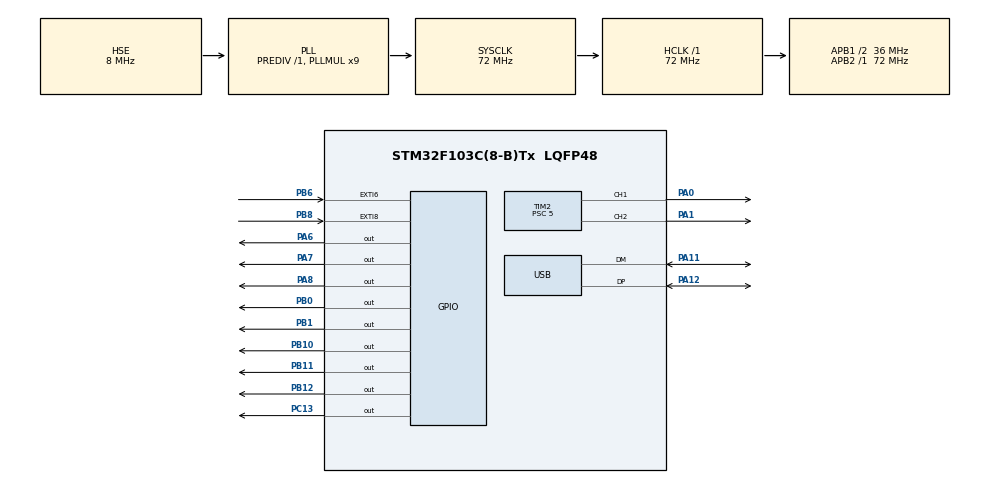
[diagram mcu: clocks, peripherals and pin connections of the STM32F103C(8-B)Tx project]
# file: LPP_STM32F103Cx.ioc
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Dma.MEMTOMEM.0.Direction=DMA_MEMORY_TO_MEMORY
Dma.MEMTOMEM.0.Instance=DMA1_Channel1
Dma.MEMTOMEM.0.MemDataAlignment=DMA_MDATAALIGN_BYTE
Dma.MEMTOMEM.0.MemInc=DMA_MINC_ENABLE
Dma.MEMTOMEM.0.Mode=DMA_NORMAL
Dma.MEMTOMEM.0.PeriphDataAlignment=DMA_PDATAALIGN_BYTE
Dma.MEMTOMEM.0.PeriphInc=DMA_PINC_ENABLE
Dma.MEMTOMEM.0.Priority=DMA_PRIORITY_LOW
Dma.Request0=MEMTOMEM
Mcu.Family=STM32F1
Mcu.Name=STM32F103C(8-B)Tx
Mcu.Package=LQFP48
NVIC.DMA1_Channel1_IRQn=true\:2\:0\:true\:false\:true\:true\:true\:true
NVIC.EXTI9_5_IRQn=true\:1\:0\:true\:false\:true\:true\:true\:true
NVIC.PriorityGroup=NVIC_PRIORITYGROUP_4
NVIC.TIM2_IRQn=true\:4\:0\:true\:false\:true\:true\:true\:true
NVIC.TIM3_IRQn=true\:1\:0\:true\:false\:true\:true\:true\:true
NVIC.TIM4_IRQn=true\:2\:0\:true\:false\:true\:true\:true\:true
NVIC.USB_LP_CAN1_RX0_IRQn=true\:0\:0\:false\:false\:true\:false\:true\:true
PA0-WKUP.Signal=S_TIM2_CH1_ETR
PA1.GPIO_ModeDefaultPP=GPIO_MODE_AF_PP
PA1.Signal=S_TIM2_CH2
PA11.Mode=Device
PA11.Signal=USB_DM
PA12.Mode=Device
PA12.Signal=USB_DP
PA13.Mode=Serial_Wire
PA13.Signal=SYS_JTMS-SWDIO
PA14.Mode=Serial_Wire
PA14.Signal=SYS_JTCK-SWCLK
PA6.Signal=GPIO_Output
PA7.Signal=GPIO_Output
PA8.Signal=GPIO_Output
PB0.Signal=GPIO_Output
PB1.Signal=GPIO_Output
PB10.Signal=GPIO_Output
PB11.Signal=GPIO_Output
PB12.Signal=GPIO_Output
PB6.GPIO_ModeDefaultEXTI=GPIO_MODE_IT_RISING_FALLING
PB6.Signal=GPXTI6
PB8.GPIO_ModeDefaultEXTI=GPIO_MODE_IT_RISING_FALLING
PB8.Signal=GPXTI8
PC13-TAMPER-RTC.Signal=GPIO_Output
PC14-OSC32_IN.Mode=LSE-External-Oscillator
PC14-OSC32_IN.Signal=RCC_OSC32_IN
PC15-OSC32_OUT.Mode=LSE-External-Oscillator
PC15-OSC32_OUT.Signal=RCC_OSC32_OUT
PD0-OSC_IN.Mode=HSE-External-Oscillator
PD0-OSC_IN.Signal=RCC_OSC_IN
PD1-OSC_OUT.Mode=HSE-External-Oscillator
PD1-OSC_OUT.Signal=RCC_OSC_OUT
ProjectManager.HeapSize=0x200
ProjectManager.StackSize=0x400
ProjectManager.TargetToolchain=MDK-ARM V5.32
RCC.AHBFreq_Value=72000000
RCC.APB1CLKDivider=RCC_HCLK_DIV2
RCC.APB1Freq_Value=36000000
RCC.APB1TimFreq_Value=72000000
RCC.APB2Freq_Value=72000000
RCC.APB2TimFreq_Value=72000000
RCC.HCLKFreq_Value=72000000
RCC.PLLMUL=RCC_PLL_MUL9
RCC.SYSCLKFreq_VALUE=72000000
RCC.SYSCLKSource=RCC_SYSCLKSOURCE_PLLCLK
RCC.USBFreq_Value=48000000
RCC.USBPrescaler=RCC_USBCLKSOURCE_PLL_DIV1_5
SH.S_TIM2_CH1_ETR.0=TIM2_CH1,PWM Generation1 CH1
SH.S_TIM2_CH2.0=TIM2_CH2,PWM Generation2 CH2
TIM2.Channel-PWM\ Generation1\ CH1=TIM_CHANNEL_1
TIM2.Channel-PWM\ Generation2\ CH2=TIM_CHANNEL_2
TIM2.Period=100
TIM2.Prescaler=5
TIM2.Pulse-PWM\ Generation1\ CH1=0
TIM2.Pulse-PWM\ Generation2\ CH2=0
TIM3.AutoReloadPreload=TIM_AUTORELOAD_PRELOAD_ENABLE
TIM3.Period=1
TIM3.Prescaler=72
TIM4.AutoReloadPreload=TIM_AUTORELOAD_PRELOAD_DISABLE
TIM4.Period=10000
TIM4.Prescaler=72
USB_DEVICE.CLASS_NAME_FS=CUSTOM_HID
USB_DEVICE.CUSTOM_HID_FS_BINTERVAL=1
USB_DEVICE.PID_CUSTOMHID_FS=22332
USB_DEVICE.USBD_CUSTOMHID_OUTREPORT_BUF_SIZE=64
USB_DEVICE.USBD_CUSTOM_HID_REPORT_DESC_SIZE=34
USB_DEVICE.VID=1122
USB_DEVICE.VirtualMode=CustomHid
USB_DEVICE.VirtualModeFS=Custom_Hid_FS
VP_TIM2_VS_ClockSourceINT.Mode=Internal
VP_TIM3_VS_ClockSourceINT.Mode=Internal
VP_TIM4_VS_ClockSourceINT.Mode=Internal
VP_TIM4_VS_OPM.Mode=OPM_bit
VP_USB_DEVICE_VS_USB_DEVICE_CUSTOM_HID_FS.Mode=CUSTOM_HID_FS
board=custom

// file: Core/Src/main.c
/* USER CODE BEGIN Header */
/**
 ******************************************************************************
 * @file           : main.c
 * @brief          : Main program body
 ******************************************************************************
 * @attention
 *
 * Copyright (c) 2023 STMicroelectronics.
 * All rights reserved.
 *
 * This software is licensed under terms that can be found in the LICENSE file
 * in the root directory of this software component.
 * If no LICENSE file comes with this software, it is provided AS-IS.
 *
 ******************************************************************************
 */
/* USER CODE END Header */
#include "main.h"
#include "usb_device.h"

/* USER CODE BEGIN Includes */
#include <math.h>
#include <stdbool.h>
#include "counter.h"
#include "stdio.h"

#include "lpp_sdk.h"
/* USER CODE END Includes */

/* USER CODE BEGIN PM */

// Глобальные определения таймеров и режимов
TIM_HandleTypeDef htim1;  // Основной таймер для управления мотором X

/* USER CODE END PM */

TIM_HandleTypeDef htim2;
TIM_HandleTypeDef htim3;
TIM_HandleTypeDef htim4;

DMA_HandleTypeDef hdma_memtomem_dma1_channel1;
/* USER CODE BEGIN PV */

void XferCpltCallback(DMA_HandleTypeDef *hdma);

// ============================================================================
// Сигнатура и версия прошивки (APP)
// ============================================================================
const uint32_t APP_KEY0   __attribute__((section(APP_KEY0_SECTION)))   = APP_SIG_KEY0;
const uint32_t APP_KEY1   __attribute__((section(APP_KEY1_SECTION)))   = APP_SIG_KEY1;
const uint32_t APP_KEY2   __attribute__((section(APP_KEY2_SECTION)))   = APP_SIG_KEY2;
const uint32_t APP_KEY3   __attribute__((section(APP_KEY3_SECTION)))   = APP_SIG_KEY3;

const uint32_t APP_VER_F  __attribute__((section(APP_VER_F_SECTION)))  = APP_VERSION;

// ============================================================================
// Внешние объявления
// ============================================================================

extern uint8_t USBD_CUSTOM_HID_SendReport(USBD_HandleTypeDef* pdev, uint8_t* report, uint16_t len);
extern USBD_HandleTypeDef hUsbDeviceFS;

/* USER CODE END PV */

void SystemClock_Config(void);
static void MX_GPIO_Init(void);
static void MX_DMA_Init(void);
static void MX_TIM2_Init(void);
static void MX_TIM3_Init(void);
static void MX_TIM4_Init(void);

/* USER CODE BEGIN 0 */
static uint8_t enc_b_state = 0;
/* USER CODE END 0 */

int main(void)
{

  /* MCU Configuration--------------------------------------------------------*/

  /* Reset of all peripherals, Initializes the Flash interface and the Systick. */
  HAL_Init();

  /* Configure the system clock */
  SystemClock_Config();

  /* Initialize all configured peripherals */
  MX_GPIO_Init();
  MX_DMA_Init();
  MX_USB_DEVICE_Init();
  MX_TIM2_Init();
  MX_TIM3_Init();
  MX_TIM4_Init();
  /* USER CODE BEGIN 2 */
		// Инициализация
		Lpp_Init();
    // Настройка приоритетов прерываний
    HAL_NVIC_SetPriority(TIM1_UP_IRQn, 2, 0);
    HAL_NVIC_EnableIRQ(TIM1_UP_IRQn);
    HAL_NVIC_SetPriority(TIM1_CC_IRQn, 2, 0);
    HAL_NVIC_EnableIRQ(TIM1_CC_IRQn);

    // Запуск PWM для лазера и подсветки
    HAL_TIM_PWM_Start(&htim2, TIM_CHANNEL_1);  // Лазер
    HAL_TIM_PWM_Start(&htim2, TIM_CHANNEL_2);  // Подсветка

    // Запуск таймеров
    HAL_TIM_Base_Start_IT(&htim4);

    // Инициализация задержки и периферии
    HAL_Delay(2000);
    HAL_GPIO_WritePin(GPIOA, GPIO_PIN_8, GPIO_PIN_SET);    // Включение USB

    // Настройка DMA callback
    HAL_DMA_RegisterCallback(&hdma_memtomem_dma1_channel1, HAL_DMA_XFER_CPLT_CB_ID, XferCpltCallback);

  /* USER CODE END 2 */

  /* Infinite loop */
    while (1) {

    /* USER CODE BEGIN 3 */

			Lpp_MainLoop();
    }
  /* USER CODE END 3 */
}

void SystemClock_Config(void)
{
  RCC_OscInitTypeDef RCC_OscInitStruct = {0};
  RCC_ClkInitTypeDef RCC_ClkInitStruct = {0};
  RCC_PeriphCLKInitTypeDef PeriphClkInit = {0};

  /** Initializes the RCC Oscillators according to the specified parameters
  * in the RCC_OscInitTypeDef structure.
  */
  RCC_OscInitStruct.OscillatorType = RCC_OSCILLATORTYPE_HSE;
  RCC_OscInitStruct.HSEState = RCC_HSE_ON;
  RCC_OscInitStruct.HSEPredivValue = RCC_HSE_PREDIV_DIV1;
  RCC_OscInitStruct.HSIState = RCC_HSI_ON;
  RCC_OscInitStruct.PLL.PLLState = RCC_PLL_ON;
  RCC_OscInitStruct.PLL.PLLSource = RCC_PLLSOURCE_HSE;
  RCC_OscInitStruct.PLL.PLLMUL = RCC_PLL_MUL9;
  if (HAL_RCC_OscConfig(&RCC_OscInitStruct) != HAL_OK)
  {
    Error_Handler();
  }

  /** Initializes the CPU, AHB and APB buses clocks
  */
  RCC_ClkInitStruct.ClockType = RCC_CLOCKTYPE_HCLK|RCC_CLOCKTYPE_SYSCLK
                              |RCC_CLOCKTYPE_PCLK1|RCC_CLOCKTYPE_PCLK2;
  RCC_ClkInitStruct.SYSCLKSource = RCC_SYSCLKSOURCE_PLLCLK;
  RCC_ClkInitStruct.AHBCLKDivider = RCC_SYSCLK_DIV1;
  RCC_ClkInitStruct.APB1CLKDivider = RCC_HCLK_DIV2;
  RCC_ClkInitStruct.APB2CLKDivider = RCC_HCLK_DIV1;

  if (HAL_RCC_ClockConfig(&RCC_ClkInitStruct, FLASH_LATENCY_2) != HAL_OK)
  {
    Error_Handler();
  }
  PeriphClkInit.PeriphClockSelection = RCC_PERIPHCLK_USB;
  PeriphClkInit.UsbClockSelection = RCC_USBCLKSOURCE_PLL_DIV1_5;
  if (HAL_RCCEx_PeriphCLKConfig(&PeriphClkInit) != HAL_OK)
  {
    Error_Handler();
  }
}

static void MX_TIM2_Init(void)
{

  TIM_ClockConfigTypeDef sClockSourceConfig = {0};
  TIM_MasterConfigTypeDef sMasterConfig = {0};
  TIM_OC_InitTypeDef sConfigOC = {0};

  htim2.Instance = TIM2;
  htim2.Init.Prescaler = 5;
  htim2.Init.CounterMode = TIM_COUNTERMODE_UP;
  htim2.Init.Period = 100;
  htim2.Init.ClockDivision = TIM_CLOCKDIVISION_DIV1;
  htim2.Init.AutoReloadPreload = TIM_AUTORELOAD_PRELOAD_DISABLE;
  if (HAL_TIM_Base_Init(&htim2) != HAL_OK)
  {
    Error_Handler();
  }
  sClockSourceConfig.ClockSource = TIM_CLOCKSOURCE_INTERNAL;
  if (HAL_TIM_ConfigClockSource(&htim2, &sClockSourceConfig) != HAL_OK)
  {
    Error_Handler();
  }
  if (HAL_TIM_PWM_Init(&htim2) != HAL_OK)
  {
    Error_Handler();
  }
  sMasterConfig.MasterOutputTrigger = TIM_TRGO_RESET;
  sMasterConfig.MasterSlaveMode = TIM_MASTERSLAVEMODE_DISABLE;
  if (HAL_TIMEx_MasterConfigSynchronization(&htim2, &sMasterConfig) != HAL_OK)
  {
    Error_Handler();
  }
  sConfigOC.OCMode = TIM_OCMODE_PWM1;
  sConfigOC.Pulse = 0;
  sConfigOC.OCPolarity = TIM_OCPOLARITY_HIGH;
  sConfigOC.OCFastMode = TIM_OCFAST_DISABLE;
  if (HAL_TIM_PWM_ConfigChannel(&htim2, &sConfigOC, TIM_CHANNEL_1) != HAL_OK)
  {
    Error_Handler();
  }
  if (HAL_TIM_PWM_ConfigChannel(&htim2, &sConfigOC, TIM_CHANNEL_2) != HAL_OK)
  {
    Error_Handler();
  }
  HAL_TIM_MspPostInit(&htim2);

}

static void MX_TIM3_Init(void)
{

  TIM_ClockConfigTypeDef sClockSourceConfig = {0};
  TIM_MasterConfigTypeDef sMasterConfig = {0};

  htim3.Instance = TIM3;
  htim3.Init.Prescaler = 72;
  htim3.Init.CounterMode = TIM_COUNTERMODE_UP;
  htim3.Init.Period = 1;
  htim3.Init.ClockDivision = TIM_CLOCKDIVISION_DIV1;
  htim3.Init.AutoReloadPreload = TIM_AUTORELOAD_PRELOAD_ENABLE;
  if (HAL_TIM_Base_Init(&htim3) != HAL_OK)
  {
    Error_Handler();
  }
  sClockSourceConfig.ClockSource = TIM_CLOCKSOURCE_INTERNAL;
  if (HAL_TIM_ConfigClockSource(&htim3, &sClockSourceConfig) != HAL_OK)
  {
    Error_Handler();
  }
  sMasterConfig.MasterOutputTrigger = TIM_TRGO_RESET;
  sMasterConfig.MasterSlaveMode = TIM_MASTERSLAVEMODE_DISABLE;
  if (HAL_TIMEx_MasterConfigSynchronization(&htim3, &sMasterConfig) != HAL_OK)
  {
    Error_Handler();
  }
  /* USER CODE BEGIN TIM3_Init 2 */
    // Настройка прерываний TIM3 (опционально)
    HAL_NVIC_SetPriority(TIM3_IRQn, 2, 0);
    HAL_NVIC_EnableIRQ(TIM3_IRQn);
  /* USER CODE END TIM3_Init 2 */

}

static void MX_TIM4_Init(void)
{

  TIM_ClockConfigTypeDef sClockSourceConfig = {0};
  TIM_MasterConfigTypeDef sMasterConfig = {0};

  htim4.Instance = TIM4;
  htim4.Init.Prescaler = 72;
  htim4.Init.CounterMode = TIM_COUNTERMODE_UP;
  htim4.Init.Period = 10000;
  htim4.Init.ClockDivision = TIM_CLOCKDIVISION_DIV1;
  htim4.Init.AutoReloadPreload = TIM_AUTORELOAD_PRELOAD_DISABLE;
  if (HAL_TIM_Base_Init(&htim4) != HAL_OK)
  {
    Error_Handler();
  }
  sClockSourceConfig.ClockSource = TIM_CLOCKSOURCE_INTERNAL;
  if (HAL_TIM_ConfigClockSource(&htim4, &sClockSourceConfig) != HAL_OK)
  {
    Error_Handler();
  }
  if (HAL_TIM_OnePulse_Init(&htim4, TIM_OPMODE_SINGLE) != HAL_OK)
  {
    Error_Handler();
  }
  sMasterConfig.MasterOutputTrigger = TIM_TRGO_RESET;
  sMasterConfig.MasterSlaveMode = TIM_MASTERSLAVEMODE_DISABLE;
  if (HAL_TIMEx_MasterConfigSynchronization(&htim4, &sMasterConfig) != HAL_OK)
  {
    Error_Handler();
  }

}

static void MX_DMA_Init(void)
{

  /* DMA controller clock enable */
  __HAL_RCC_DMA1_CLK_ENABLE();

  /* Configure DMA request hdma_memtomem_dma1_channel1 on DMA1_Channel1 */
  hdma_memtomem_dma1_channel1.Instance = DMA1_Channel1;
  hdma_memtomem_dma1_channel1.Init.Direction = DMA_MEMORY_TO_MEMORY;
  hdma_memtomem_dma1_channel1.Init.PeriphInc = DMA_PINC_ENABLE;
  hdma_memtomem_dma1_channel1.Init.MemInc = DMA_MINC_ENABLE;
  hdma_memtomem_dma1_channel1.Init.PeriphDataAlignment = DMA_PDATAALIGN_BYTE;
  hdma_memtomem_dma1_channel1.Init.MemDataAlignment = DMA_MDATAALIGN_BYTE;
  hdma_memtomem_dma1_channel1.Init.Mode = DMA_NORMAL;
  hdma_memtomem_dma1_channel1.Init.Priority = DMA_PRIORITY_LOW;
  if (HAL_DMA_Init(&hdma_memtomem_dma1_channel1) != HAL_OK)
  {
    Error_Handler( );
  }

  /* DMA interrupt init */
  /* DMA1_Channel1_IRQn interrupt configuration */
  HAL_NVIC_SetPriority(DMA1_Channel1_IRQn, 2, 0);
  HAL_NVIC_EnableIRQ(DMA1_Channel1_IRQn);

}

static void MX_GPIO_Init(void)
{
  GPIO_InitTypeDef GPIO_InitStruct = {0};

  /* GPIO Ports Clock Enable */
  __HAL_RCC_GPIOC_CLK_ENABLE();
  __HAL_RCC_GPIOD_CLK_ENABLE();
  __HAL_RCC_GPIOA_CLK_ENABLE();
  __HAL_RCC_GPIOB_CLK_ENABLE();

  /*Configure GPIO pin Output Level */
  HAL_GPIO_WritePin(GPIOC, GPIO_PIN_13, GPIO_PIN_RESET);

  /*Configure GPIO pin Output Level */
  HAL_GPIO_WritePin(GPIOA, GPIO_PIN_6|GPIO_PIN_7|GPIO_PIN_8, GPIO_PIN_RESET);

  /*Configure GPIO pin Output Level */
  HAL_GPIO_WritePin(GPIOB, GPIO_PIN_0|GPIO_PIN_1|GPIO_PIN_10|GPIO_PIN_11
                          |GPIO_PIN_12, GPIO_PIN_RESET);

  /*Configure GPIO pin : PC13 */
  GPIO_InitStruct.Pin = GPIO_PIN_13;
  GPIO_InitStruct.Mode = GPIO_MODE_OUTPUT_PP;
  GPIO_InitStruct.Pull = GPIO_NOPULL;
  GPIO_InitStruct.Speed = GPIO_SPEED_FREQ_LOW;
  HAL_GPIO_Init(GPIOC, &GPIO_InitStruct);

  /*Configure GPIO pins : PA6 PA7 PA8 */
  GPIO_InitStruct.Pin = GPIO_PIN_6|GPIO_PIN_7|GPIO_PIN_8;
  GPIO_InitStruct.Mode = GPIO_MODE_OUTPUT_PP;
  GPIO_InitStruct.Pull = GPIO_NOPULL;
  GPIO_InitStruct.Speed = GPIO_SPEED_FREQ_LOW;
  HAL_GPIO_Init(GPIOA, &GPIO_InitStruct);

  /*Configure GPIO pins : PB0 PB1 PB10 PB11
                           PB12 */
  GPIO_InitStruct.Pin = GPIO_PIN_0|GPIO_PIN_1|GPIO_PIN_10|GPIO_PIN_11
                          |GPIO_PIN_12;
  GPIO_InitStruct.Mode = GPIO_MODE_OUTPUT_PP;
  GPIO_InitStruct.Pull = GPIO_NOPULL;
  GPIO_InitStruct.Speed = GPIO_SPEED_FREQ_LOW;
  HAL_GPIO_Init(GPIOB, &GPIO_InitStruct);

  /*Configure GPIO pins : PB6 PB8 */
  GPIO_InitStruct.Pin = GPIO_PIN_6|GPIO_PIN_8;
  GPIO_InitStruct.Mode = GPIO_MODE_IT_RISING_FALLING;
  GPIO_InitStruct.Pull = GPIO_NOPULL;
  HAL_GPIO_Init(GPIOB, &GPIO_InitStruct);

  /* EXTI interrupt init*/
  HAL_NVIC_SetPriority(EXTI9_5_IRQn, 1, 0);
  HAL_NVIC_EnableIRQ(EXTI9_5_IRQn);

}

/* USER CODE BEGIN 4 */

// ============================================================================
// Функции управления мотором X
// ============================================================================

/**
 * @brief Установка мощности мотора X
 * @param power Мощность (-5000 до +5000)
 * @retval None
 */
void XMotorSet(int power) {
    // Ограничение мощности
    if (power > 5000) power = 5000;
    if (power < -5000) power = -5000;

    // Режим ONE_PWM: один ШИМ + DIR
    if (X_MOTOR_MODE == X_MOTOR_MODE_ONE_PWM) {
        TIM1->CCR1 = (W_X_POL_PWM == 0) ? abs(power) : (5000 - abs(power));

        HAL_GPIO_WritePin(GPIOB, GPIO_PIN_14,
                          (W_X_POL_DIR == 0) ? ((power >= 0) ? GPIO_PIN_RESET : GPIO_PIN_SET)
                                             : ((power >= 0) ? GPIO_PIN_SET : GPIO_PIN_RESET));
    }

    // Режим TWO_PWM: два ШИМ канала
    if (X_MOTOR_MODE == X_MOTOR_MODE_TWO_PWM) {
        if (W_X_POL_PWM == 0) {
            TIM1->CCR1 = 5000 + power;
            TIM1->CCR2 = 5000 - power;
        } else {
            TIM1->CCR1 = 5000 - power;
            TIM1->CCR2 = 5000 + power;
        }
    }
}

// ============================================================================
// MotorX_Init — инициализация таймера и GPIO для оси X
// Поддерживаются 3 режима работы двигателя:
//   1) X_MOTOR_MODE_STEP      — Шаговый двигатель (STEP + DIR)
//   2) X_MOTOR_MODE_ONE_PWM   — Один ШИМ + DIR
//   3) X_MOTOR_MODE_TWO_PWM   — Два ШИМ (Dual H-Bridge)
// В любом режиме пин PB15 (ENABLE) используется как выход, активный уровень
// задаётся при настройке, но здесь он просто включается.
// ============================================================================

void XMotorInit(X_MOTOR_MODE_T mode)
{
    if (X_MOTOR_MODE == mode) return; // если режим уже установлен — выходим

		__HAL_RCC_TIM1_FORCE_RESET();     // полный аппаратный сброс TIM1 (как после включения MCU)
		__HAL_RCC_TIM1_RELEASE_RESET();   // выход из сброса — таймер в чистом состоянии

    // ------------------------------------------------------------------------
    // Режим START — отключаем таймер и переводим пины в безопасное состояние
    // ------------------------------------------------------------------------
    if (mode == X_MOTOR_MODE_START)
    {
        __HAL_RCC_TIM1_FORCE_RESET();     // сброс таймера
        __HAL_RCC_TIM1_RELEASE_RESET();

        GPIO_InitTypeDef GPIO_InitStruct = {0};
        GPIO_InitStruct.Pin = GPIO_PIN_13 | GPIO_PIN_14 | GPIO_PIN_15;
        GPIO_InitStruct.Mode = GPIO_MODE_INPUT;
        GPIO_InitStruct.Pull = GPIO_NOPULL;
        HAL_GPIO_Init(GPIOB, &GPIO_InitStruct);

        X_MOTOR_MODE = mode;
        return;
    }

    // ------------------------------------------------------------------------
    // Включаем тактирование портов и TIM1
    // ------------------------------------------------------------------------
    __HAL_RCC_GPIOB_CLK_ENABLE();
    __HAL_RCC_TIM1_CLK_ENABLE();
    __HAL_RCC_AFIO_CLK_ENABLE();

    // ------------------------------------------------------------------------
    // Настройка ENABLE (PB15) — всегда как выход push-pull
    // ------------------------------------------------------------------------
    GPIO_InitTypeDef GPIO_InitStruct = {0};
    GPIO_InitStruct.Pin = GPIO_PIN_15;
    GPIO_InitStruct.Mode = GPIO_MODE_OUTPUT_PP;
    GPIO_InitStruct.Pull = GPIO_NOPULL;
    GPIO_InitStruct.Speed = GPIO_SPEED_FREQ_LOW;
    HAL_GPIO_Init(GPIOB, &GPIO_InitStruct);
    HAL_GPIO_WritePin(GPIOB, GPIO_PIN_15, GPIO_PIN_SET); // включаем драйвер

    // ------------------------------------------------------------------------
    // Режим STEP + DIR (шаговый двигатель, без энкодера)
    // ------------------------------------------------------------------------
    if (mode == X_MOTOR_MODE_STEP)
    {
        // Настройка GPIO: PB13 = STEP, PB14 = DIR
        GPIO_InitStruct.Pin = GPIO_PIN_13 | GPIO_PIN_14;
        GPIO_InitStruct.Mode = GPIO_MODE_OUTPUT_PP;
        GPIO_InitStruct.Pull = GPIO_NOPULL;
        GPIO_InitStruct.Speed = GPIO_SPEED_FREQ_HIGH;
        HAL_GPIO_Init(GPIOB, &GPIO_InitStruct);

        // Начальные уровни
        HAL_GPIO_WritePin(GPIOB, GPIO_PIN_13, GPIO_PIN_RESET);
        HAL_GPIO_WritePin(GPIOB, GPIO_PIN_14, GPIO_PIN_RESET);

        // --- Настройка TIM1 для генерации коротких STEP-импульсов ---
        TIM_ClockConfigTypeDef sClockSourceConfig = {0};
        TIM_MasterConfigTypeDef sMasterConfig = {0};

        htim1.Instance = TIM1;
        htim1.Init.Prescaler = 72;               // 72 MHz / 72 = 1 MHz (1 мкс)
        htim1.Init.CounterMode = TIM_COUNTERMODE_UP;
        htim1.Init.Period = 10000;               // 1 мкс — длина импульса
        htim1.Init.ClockDivision = TIM_CLOCKDIVISION_DIV1;
        htim1.Init.RepetitionCounter = 0;
        htim1.Init.AutoReloadPreload = TIM_AUTORELOAD_PRELOAD_DISABLE;

        HAL_TIM_Base_Init(&htim1);
        sClockSourceConfig.ClockSource = TIM_CLOCKSOURCE_INTERNAL;
        HAL_TIM_ConfigClockSource(&htim1, &sClockSourceConfig);

        // Включаем One Pulse Mode
        HAL_TIM_OnePulse_Init(&htim1, TIM_OPMODE_SINGLE);

        sMasterConfig.MasterOutputTrigger = TIM_TRGO_RESET;
        sMasterConfig.MasterSlaveMode = TIM_MASTERSLAVEMODE_DISABLE;
        HAL_TIMEx_MasterConfigSynchronization(&htim1, &sMasterConfig);

        // Прерывание TIM1_UP (срабатывает по завершению импульса)
        HAL_NVIC_SetPriority(TIM1_UP_IRQn, 1, 0);
        HAL_NVIC_EnableIRQ(TIM1_UP_IRQn);

				// Обнуляем счётчик таймера
				__HAL_TIM_SET_COUNTER(&htim1, 0);
				// Запускаем таймер в режиме One Pulse (вызовет колбэк один раз)
				HAL_TIM_Base_Start_IT(&htim1);
    }

    // ------------------------------------------------------------------------
    // PWM-режимы (1PWM + DIR) и (2PWM — Dual Bridge)
    // ------------------------------------------------------------------------
    else
    {
        // PB13 — PWM выход, PB14 — либо PWM2, либо DIR
        GPIO_InitStruct.Pin = GPIO_PIN_13;
        GPIO_InitStruct.Mode = GPIO_MODE_AF_PP;
        GPIO_InitStruct.Pull = GPIO_NOPULL;
        GPIO_InitStruct.Speed = GPIO_SPEED_FREQ_HIGH;
        HAL_GPIO_Init(GPIOB, &GPIO_InitStruct);

        if (mode == X_MOTOR_MODE_TWO_PWM) {
            GPIO_InitStruct.Pin = GPIO_PIN_14;
            GPIO_InitStruct.Mode = GPIO_MODE_AF_PP;
            HAL_GPIO_Init(GPIOB, &GPIO_InitStruct);
        } else {
            GPIO_InitStruct.Pin = GPIO_PIN_14;
            GPIO_InitStruct.Mode = GPIO_MODE_OUTPUT_PP;
            HAL_GPIO_Init(GPIOB, &GPIO_InitStruct);
            HAL_GPIO_WritePin(GPIOB, GPIO_PIN_14, GPIO_PIN_RESET);
        }

        // Настройка TIM1 под PWM
        htim1.Instance = TIM1;
        if (mode == X_MOTOR_MODE_ONE_PWM) {
            htim1.Init.Prescaler = 15;
            htim1.Init.Period = 4999;
        } else {
            htim1.Init.Prescaler = 7;
            htim1.Init.Period = 9999;
        }

        htim1.Init.CounterMode = TIM_COUNTERMODE_UP;
        htim1.Init.ClockDivision = TIM_CLOCKDIVISION_DIV1;
        htim1.Init.RepetitionCounter = 0;
        htim1.Init.AutoReloadPreload = TIM_AUTORELOAD_PRELOAD_DISABLE;

        HAL_TIM_Base_Init(&htim1);

        TIM_ClockConfigTypeDef sClockSourceConfig = {0};
        sClockSourceConfig.ClockSource = TIM_CLOCKSOURCE_INTERNAL;
        HAL_TIM_ConfigClockSource(&htim1, &sClockSourceConfig);

        HAL_TIM_PWM_Init(&htim1);

        // Конфигурация PWM-каналов
        TIM_OC_InitTypeDef sConfigOC = {0};
        sConfigOC.OCMode = TIM_OCMODE_PWM1;
        sConfigOC.Pulse = 0;
        sConfigOC.OCPolarity = TIM_OCPOLARITY_HIGH;
        sConfigOC.OCNPolarity = TIM_OCNPOLARITY_HIGH;
        sConfigOC.OCFastMode = TIM_OCFAST_DISABLE;
        sConfigOC.OCIdleState = TIM_OCIDLESTATE_RESET;
        sConfigOC.OCNIdleState = TIM_OCNIDLESTATE_RESET;

        HAL_TIM_PWM_ConfigChannel(&htim1, &sConfigOC, TIM_CHANNEL_1);
        HAL_TIM_PWM_ConfigChannel(&htim1, &sConfigOC, TIM_CHANNEL_2);

        // Настройка DeadTime и Break-функций
        TIM_BreakDeadTimeConfigTypeDef sBDT = {0};
        sBDT.OffStateRunMode = TIM_OSSR_DISABLE;
        sBDT.OffStateIDLEMode = TIM_OSSI_DISABLE;
        sBDT.LockLevel = TIM_LOCKLEVEL_OFF;
        sBDT.DeadTime = 0;
        sBDT.BreakState = TIM_BREAK_DISABLE;
        sBDT.BreakPolarity = TIM_BREAKPOLARITY_HIGH;
        sBDT.AutomaticOutput = TIM_AUTOMATICOUTPUT_DISABLE;
        HAL_TIMEx_ConfigBreakDeadTime(&htim1, &sBDT);

        HAL_NVIC_SetPriority(TIM1_UP_IRQn, 2, 0);
        HAL_NVIC_EnableIRQ(TIM1_UP_IRQn);

        // Запуск таймера и каналов PWM
        HAL_TIM_Base_Start_IT(&htim1);
        HAL_TIM_PWM_Start(&htim1, TIM_CHANNEL_1);
        TIM1->BDTR |= TIM_BDTR_MOE;
        TIM1->CCER |= TIM_CCER_CC1NE;

        if (mode == X_MOTOR_MODE_TWO_PWM) {
            HAL_TIM_PWM_Start(&htim1, TIM_CHANNEL_2);
            TIM1->CCER |= TIM_CCER_CC2NE;
        }
    }

    // Сохраняем текущий режим
    X_MOTOR_MODE = mode;
}

// ============================================================================
// Функции управления осью Y
// ============================================================================
/**
 * @brief  Устанавливает направление DIR для оси Y.
 * @param  dir_state: 0 — одно направление, 1 — противоположное.
 */
void YSetDir(uint8_t dir_state)
{
    HAL_GPIO_WritePin(GPIOB, GPIO_PIN_1, dir_state ? GPIO_PIN_SET : GPIO_PIN_RESET);
}

/**
 * @brief  Устанавливает уровень STEP для оси Y.
 * @param  step_state: 0 — низкий уровень, 1 — высокий уровень.
 */
void YSetStep(uint8_t step_state)
{
    HAL_GPIO_WritePin(GPIOB, GPIO_PIN_0, step_state ? GPIO_PIN_SET : GPIO_PIN_RESET);
}

/**
 * @brief  Управляет сигналом ENABLE для шаговых драйверов осей X, Y, Z.
 * @param  enabled: 1 — включить драйверы (ENA = HIGH),
 *                  0 — выключить драйверы (ENA = LOW).
 */
void YSetEnable(uint8_t enabled)
{
    GPIO_PinState st = enabled ? GPIO_PIN_SET : GPIO_PIN_RESET;

    HAL_GPIO_WritePin(GPIOB, GPIO_PIN_12, st); // Ось X
    HAL_GPIO_WritePin(GPIOA, GPIO_PIN_7,  st); // Ось Y
    HAL_GPIO_WritePin(GPIOA, GPIO_PIN_6,  st); // Ось Z
}

// установка периода и запуск таймера YTimer
void YTimerSet(uint16_t period)
{
    __HAL_TIM_SET_AUTORELOAD(&htim4, period);
    __HAL_TIM_ENABLE(&htim4);
}

// ============================================================================
// Управление шаговым двигателем X (в режиме X_MOTOR_MODE_STEP)
// ============================================================================

/**
 * @brief  Устанавливает направление DIR для оси X.
 */
void XSetDir(uint8_t dir_state)
{
    // Локальный драйвер X (на плате)
    HAL_GPIO_WritePin(GPIOB, GPIO_PIN_14, dir_state ? GPIO_PIN_SET : GPIO_PIN_RESET);

    // DB25 выход (Pin 3)
    HAL_GPIO_WritePin(GPIOB, GPIO_PIN_11, dir_state ? GPIO_PIN_SET : GPIO_PIN_RESET);
}

/**
 * @brief  Устанавливает уровень STEP для оси X.
 */
void XSetStep(uint8_t step_state)
{
    // Локальный драйвер X
    HAL_GPIO_WritePin(GPIOB, GPIO_PIN_13, step_state ? GPIO_PIN_SET : GPIO_PIN_RESET);

    // DB25 выход (Pin 2)
    HAL_GPIO_WritePin(GPIOB, GPIO_PIN_10, step_state ? GPIO_PIN_SET : GPIO_PIN_RESET);
}

/**
 * @brief  Управляет сигналом ENABLE для оси X.
 * @param  enabled: 1 — включить (ENA = HIGH), 0 — выключить (ENA = LOW).
 */
void XSetEnable(uint8_t enabled)
{
    HAL_GPIO_WritePin(GPIOB, GPIO_PIN_15, enabled ? GPIO_PIN_SET : GPIO_PIN_RESET);
}

// @brief Установка периода и запуск TIM1 для шагов X
// @param period: период в тактах таймера (микросекунды при Prescaler=71)
void XTimerSet(uint16_t period)
{
    __HAL_TIM_SET_AUTORELOAD(&htim1, period);
    __HAL_TIM_ENABLE(&htim1);
}

// ============================================================================
// Обработчики прерываний таймеров
// ============================================================================

/**
 * @brief Callback обработки переполнения таймера
 * @param htim Указатель на обработчик таймера
 * @retval None
 */
void HAL_TIM_PeriodElapsedCallback(TIM_HandleTypeDef* htim) {
    // TIM1 - Управление мотором X и PID регулятор
    if (htim->Instance == TIM1) {
			XTimerCallback();
    }

    // TIM3 - Интерполяция печати
    if (htim->Instance == TIM3) {

        // SDK вариант: один шаг интерполяции
        if (XInterpTimerCallback() == 0)
        {
            // Возврат 0 означает, что серия интерполяции завершена
            HAL_TIM_Base_Stop_IT(&htim3);
            TIM3->CNT = 0;  // Сброс счетчика
        }
    }

    // TIM4 - Управление осью Y
    if (htim->Instance == TIM4) {
			YTimerCallback();
    }
}

// ============================================================================
// Обработчики внешних прерываний (энкодер)
// ============================================================================

// Установка мощности лазера (TIM2 CH1)

void SetLaserPWM(uint16_t pwm_value)
{
    __HAL_TIM_SET_COMPARE(&htim2, TIM_CHANNEL_1, pwm_value);
}

// Установка мощности подсветки (TIM2 CH2)

void SetLightPWM(uint16_t pwm_value)
{
    __HAL_TIM_SET_COMPARE(&htim2, TIM_CHANNEL_2, pwm_value);
}

/**
 * @brief  Настраивает частоту PWM по значению в герцах (универсально для всех STM32).
 * @param  freq_hz  Желаемая частота PWM, Гц (например 1000, 5000, 100000).
 *
 * Функция автоматически вычисляет нужный делитель (PSC) на основе частоты шины таймера.
 * Работает одинаково для разных частот системного тактирования и серий MCU
 * (STM32F0, F1, F2, F3, F4, G0, G4, H7, L0, L1, L4, L5, WB, WL и др.).
 *
 * Учитывает важную особенность тактирования таймеров STM32:
 * - Если прескалер APBx = 1, то частота таймера = частота шины APBx
 * - Если прескалер APBx > 1, то частота таймера = частота шины APBx × 2
 *
 * Пример: если SYSCLK = 72 MHz, APB1 prescaler = /2, freq_hz = 20 kHz, ARR = 99:
 *         PCLK1 = 36 MHz, но TIM_CLK = 72 MHz (удвоение!)
 *         PSC = (72_000_000 / (100 × 20_000)) - 1 = 35
 */
void SetLaserLightPWMFrequency(uint32_t freq_hz)
{
    // Получаем базовую частоту шины APB1
    uint32_t pclk1 = HAL_RCC_GetPCLK1Freq();

    // Извлекаем биты прескалера APB1 из регистра конфигурации тактирования
    // Расположение битов PPRE1 зависит от серии MCU
    uint32_t ppre1_bits;

		// STM32F0/F1/F2/F3/F4/G0/G4/L0/L1/L4/L5/WB/WL: биты PPRE1 в RCC->CFGR
		ppre1_bits = (RCC->CFGR & RCC_CFGR_PPRE1) >> RCC_CFGR_PPRE1_Pos;

    // Определяем реальную частоту тактирования таймера
    // Кодировка битов PPRE1[2:0]:
    // 0xx (0-3): нет деления (APB prescaler = 1)    → TIM_CLK = PCLK1
    // 100 (4):   деление на 2 (APB prescaler = 2)   → TIM_CLK = PCLK1 × 2
    // 101 (5):   деление на 4 (APB prescaler = 4)   → TIM_CLK = PCLK1 × 2
    // 110 (6):   деление на 8 (APB prescaler = 8)   → TIM_CLK = PCLK1 × 2
    // 111 (7):   деление на 16 (APB prescaler = 16) → TIM_CLK = PCLK1 × 2
    uint32_t tim_clk;
    if (ppre1_bits >= 4)
    {
        // APB1 prescaler >= 2: таймер получает удвоенную частоту шины
        tim_clk = pclk1 * 2;
    }
    else
    {
        // APB1 prescaler = 1: таймер тактируется напрямую от шины
        tim_clk = pclk1;
    }

    // Устанавливаем значение ARR (Auto-Reload Register) — определяет период счёта.
    // ARR = 99 даёт 100 шагов ШИМ (0-99), что удобно для процентного управления (1% = 1 шаг).
    uint32_t arr = 100 - 1;

    // Вычисляем делитель частоты (Prescaler) по формуле:
    // f_PWM = TIM_CLK / ((PSC + 1) × (ARR + 1))
    // Отсюда: PSC = (TIM_CLK / ((ARR + 1) × f_PWM)) - 1
    uint32_t prescaler = (tim_clk / (arr + 1)) / freq_hz;

    // Защита от выхода за допустимые значения 16-битного регистра PSC (0-65535)
    if (prescaler < 1) prescaler = 1;
    if (prescaler > 65535) prescaler = 65535;

    // Применяем вычисленные параметры к таймеру через макросы HAL
    __HAL_TIM_SET_PRESCALER(&htim2, prescaler - 1);  // PSC (вычитаем 1, т.к. регистр работает как (PSC+1))
    __HAL_TIM_SET_AUTORELOAD(&htim2, arr);           // ARR (период счёта)

    // Генерируем событие обновления (Update Event) для немедленного применения новых значений PSC и ARR.
    // Без этого изменения вступят в силу только после переполнения счётчика.
    htim2.Instance->EGR = TIM_EGR_UG;

    // Сбрасываем счётчик таймера в 0 для стабильного старта с новыми параметрами
    __HAL_TIM_SET_COUNTER(&htim2, 0);
}

void XInterpTimerStart(uint32_t period) {
    // Старт интерполяционого таймера
	TIM3->ARR = period;          // Установка периода
    TIM3->SR &= ~TIM_SR_UIF;     // Сброс флага прерывания
    TIM3->DIER |= TIM_DIER_UIE;  // Разрешение прерывания
    TIM3->CR1 |= TIM_CR1_CEN;    // Запуск таймера
}

uint16_t ReadEncoderPins(void) {
    // Читаем состояние пинов энкодера на порту B
    return GPIOB->IDR & (ENCODER_A_PIN | ENCODER_B_PIN);
}

/**
 * @brief Callback обработки внешних прерываний (энкодер)
 * @param GPIO_Pin Пин, вызвавший прерывание
 * @retval None
 */
void HAL_GPIO_EXTI_Callback(uint16_t GPIO_Pin) {
//__disable_irq();
    XEncoderCallback(GPIO_Pin);
//__enable_irq();
//uint16_t enc = ReadEncoderPins();

//if (enc & ENCODER_A_PIN)
//    GPIOA->BSRR = GPIO_BSRR_BS6;   // PA6 = 1
//else
//    GPIOA->BSRR = GPIO_BSRR_BR6;   // PA6 = 0

}

// ============================================================================
// Отправка 64-байтного пакета хосту (используется SDK)
// ============================================================================
uint8_t PacketSend(uint8_t* buffer)
{
    // Отправка HID отчёта (64 байта)
    return USBD_CUSTOM_HID_SendReport(&hUsbDeviceFS, buffer, 64);
}

// ============================================================================
// Запуск DMA для копирования блока данных FIFO (вызывается из SDK)
// ============================================================================
void FIFO_DATA_StartDma(uint32_t src_addr, uint32_t dst_addr, uint16_t size)
{
    HAL_DMA_Start_IT(
        &hdma_memtomem_dma1_channel1,
        src_addr,
        dst_addr,
        size  // передаём размер извне
    );
}

// ============================================================================
// Обработчик завершения DMA передачи
// ============================================================================
/**
 * @brief Callback завершения DMA передачи
 * @param hdma Указатель на структуру DMA
 * @retval None
 */
void XferCpltCallback(DMA_HandleTypeDef* hdma) {
	// Проверяем, что это нужный канал DMA
	if (hdma == &hdma_memtomem_dma1_channel1) {
		FIFO_DATA_EndDma();
	}
}

/* USER CODE END 4 */

void Error_Handler(void)
{
  /* USER CODE BEGIN Error_Handler_Debug */
////////////////////////////////////////////////////////////////    __disable_irq();
    while (1) {
    }
  /* USER CODE END Error_Handler_Debug */
}
